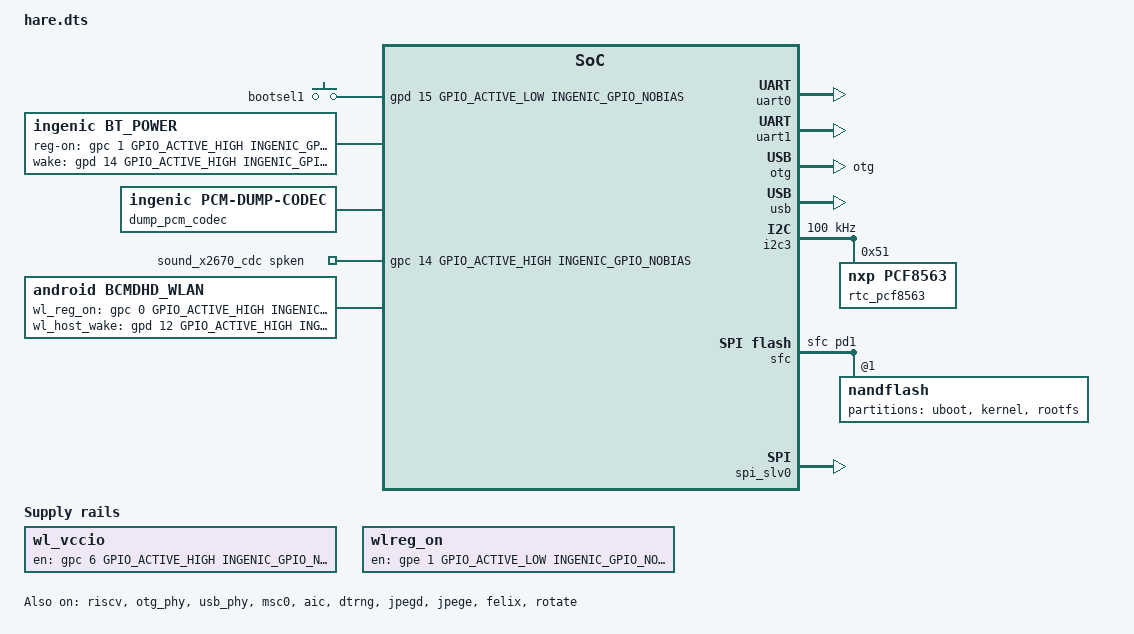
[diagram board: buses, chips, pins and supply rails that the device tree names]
/dts-v1/;

#include <dt-bindings/input/input.h>
#include "x2600.dtsi"
#include <dt-bindings/interrupt-controller/irq.h>
#include <generated/autoconf.h>

/ {
	compatible = "ingenic,x2670-hare";
	chosen {
		/*bootargs = "console=ttyS0,115200 mem=64M@0x0 ip=off init=/linuxrc ubi.mtd=2 root=ubi0:rootfs ubi.mtd=3 rootfstype=ubifs rw flashtype=nand";*/
		/*bootargs = "console=ttyS0,115200 mem=128M@0x0 ip=off init=/linuxrc rootfstype=jffs2 root=/dev/mtdblock2 rw flashtype=nor";*/
	};
	reserved-memory {
		#address-cells = <1>;
		#size-cells = <1>;
		ranges =<>;

		/*dynamic fixup according to ddr size.*/
		reserved_memory: reserved_mem {
		      compatible = "shared-dma-pool";
		      reg-64M  = <0x03000000 0xf00000>;
		      reg-128M = <0x06000000 0x1f00000>;
		      reg-256M = <0x0e000000 0x1f00000>;
		};

		riscv_mcu_ram: riscv_mcu_ram {
			 compatible = "shared-dma-pool";
			 reg-64M = <0x03F00000 0x50000>;
			 reg-128M = <0x07F00000 0x50000>;
			 reg-256M = <0x0FF00000 0x50000>;

		 };

		vdev0buffer: vdev0buffer {
			 compatible = "shared-dma-pool";
			 reg-64M = <0x03F50000 0x8000>;
			 reg-128M = <0x07F50000 0x8000>;
			 reg-256M = <0x0FF50000 0x8000>;
		};

		vdev0vring0: vdev0vring0@12400000{
		    compatible = "shared-dma-pool";
			reg = <0x12400000 0x1000>;
			no-map;
		};

		vdev0vring1: vdev0vring1@12401000{
		    compatible = "shared-dma-pool";
			reg = <0x12401000 0x1000>;
			no-map;
		};
	};
};

&riscv {
	status = "okay";
	memory-region=<&vdev0buffer &vdev0vring0 &vdev0vring1>;
	mcu-ram = <&riscv_mcu_ram>;
};

&uart0 {
	status = "okay";
	pinctrl-names = "default";
	pinctrl-0 = <&uart0_pe>;
};

&uart1 {
	status = "okay";
	pinctrl-names = "default";
	pinctrl-0 = <&uart1_pc>;
};

&otg {
	g-use-dma;
	dr_mode = "otg"; // host,peripheral,otg
	status = "okay";
};

&usb {
	g-use-dma;
	status = "okay";
};

&otg_phy {
	status = "okay";
};

&usb_phy {
	status = "okay";
};

&i2c3 {
    clock-frequency = <100000>;
    pinctrl-0 = <&i2c3_pe>;
    timeout = <1000>;
    pinctrl-names = "default";
    status = "okay";

    rtc_pcf8563:rtc_pcf8563@51{
                compatible = "nxp,pcf8563";
                reg = <0x51>;
                status = "okay";
    };
};

&msc0 {
	status = "okay";
	/*mmc-hs200-1_8v;*/
	pinctrl-names ="default";
	pinctrl-0 = <&msc0_4bit>;

	cap-mmc-highspeed;
	max-frequency = <50000000>;
	bus-width = <4>;
	voltage-ranges = <1800 3300>;
	non-removable;

	ingenic,sdio_clk = <1>;
	keep-power-in-suspend;
	ingenic,removal-manual;

#ifndef CONFIG_RTL8723DS
	bcmdhd_wlan: bcmdhd_wlan {
		 compatible = "android,bcmdhd_wlan";
		 gpio_wl_reg_on = <&gpc 0 GPIO_ACTIVE_HIGH INGENIC_GPIO_NOBIAS>;
		 gpio_wl_host_wake = <&gpd 12 GPIO_ACTIVE_HIGH INGENIC_GPIO_NOBIAS>;
    };
#else
	rtl8723ds: rtl8723ds {
		 compatible = "rtk,rtl8723ds_wlan";
		 ingenic,sdio-irq = <&gpc 0 IRQ_TYPE_LEVEL_HIGH INGENIC_GPIO_NOBIAS>;
		 ingenic,sdio-reset = <&gpd 12 GPIO_ACTIVE_LOW INGENIC_GPIO_NOBIAS>;
    };
#endif
};

&sfc {
	status = "okay";
	pinctrl-names = "default";
	pinctrl-0 = <&sfc_pd1>;
	ingenic,sfc-max-frequency = <200000000>;
	ingenic,sfc-init-frequency= <40000000>;
	ingenic,use_ofpart_info  = /bits/ 8 <0>;
	ingenic,spiflash_param_offset = <0>;

	nandflash@1 {
		partitions {
		compatible = "fixed-partitions";
		#address-cells = <1>;
		#size-cells = <1>;
		/* spi nand flash partition */
		partition@0 {
			label = "uboot";
			reg = <0x0000000 0x100000>;
		/*read-only;*/
		};
		partition@100000 {
			label = "kernel";
			reg = <0x100000 0x800000>;
		};
		partition@900000 {
			label = "rootfs";
			reg = <0x900000 0xf700000>;
		};
		};
	};

};

&aic {
	status = "okay";
};

&dmic {
	status = "disable";
	pinctrl-names = "default";
	pinctrl-0 = <&dmic_pc_4ch>;
};

&spi0 {
	status = "disabled";
	pinctrl-names = "default";
	pinctrl-0 = <&spi0_pb>;
	spi-max-frequency = <54000000>;
	num-cs = <2>;
	/* cs-gpios = <0>, <0>; */
	/* cs-gpios = <&gpb 17 GPIO_ACTIVE_HIGH INGENIC_GPIO_NOBIAS>, <&gpb 16 GPIO_ACTIVE_HIGH INGENIC_GPIO_NOBIAS>; */
	ingenic,chnl = <0>;
	ingenic,allow_cs_same = <1>;
	ingenic,bus_num = <0>;
	ingenic,has_dma_support = <0>;
	ingenic,spi-src-clk = <1>;/*0.ext; 1.ssi*/

	/* Add SPI interface device */
	spidev: spidev@0 {
		compatible = "rohm,dh2228fv";
		reg = <0>;
		spi-max-frequency = <10000000>;
	};
};

&spi_slv0 {
	status = "okay";
	pinctrl-names = "default";
	pinctrl-0 = <&spi_slv_pb>;
	ingenic,has_dma_support = <0>;
};

&efuse {
	status = "disabled";
};

&dtrng {
	status = "okay";
};

&tcu0 {
	status = "disable";
};

&tcu1 {
	status = "disable";
};

// pcm的复用引脚为pc00 - pc03，在使用时注意引脚复用不要冲突，尤其是i2c0_pc和i2c1_pc
&pcm {
	status = "disable";
	ingenic,pcm-master-mode = <1>;
	pinctrl-names = "default";
	pinctrl-0 = <&pcm_pc>;
};

/ {

	extclk: extclk {
		clock-frequency = <24000000>;
	};

	gpio_keys: gpio_keys {
		   compatible = "gpio-keys";

		   bootsel1 {
			   label = "bootsel1";
			   linux,code = <KEY_BACK>;
			   gpios = <&gpd 15 GPIO_ACTIVE_LOW INGENIC_GPIO_NOBIAS>;
			   gpio-key,wakeup;
		   };
	};

	wl_vccio: wl-regulator {
		  compatible = "regulator-fixed";
		  regulator-name = "wl_vccio";
		  gpio = <&gpc 6 GPIO_ACTIVE_HIGH INGENIC_GPIO_NOBIAS>;
		  enable-active-high;
	};

	wlreg_on: wlreg-on {
		  compatible = "regulator-fixed";
		  regulator-name = "wlreg_on";
		  gpio = <&gpe 1 GPIO_ACTIVE_LOW INGENIC_GPIO_NOBIAS>;
		  enable-active-low;
	};


	/*
	 * gpd 14 bt wakeup host
	 * gpd 13 host wakeup bt
	 */
	bt_power {
		compatible = "ingenic,bt_power";
		ingenic,reg-on-gpio = <&gpc 1 GPIO_ACTIVE_HIGH INGENIC_GPIO_NOBIAS>;
		ingenic,wake-gpio = <&gpd 14 GPIO_ACTIVE_HIGH INGENIC_GPIO_NOBIAS>;
		status = "okay";
	};

	watchdog {
		compatible = "sgm820-wdt";
		ingenic,sgm820-wdi = <&gpc 7 GPIO_ACTIVE_LOW INGENIC_GPIO_NOBIAS>;
		status = "okay";
	};

	dump_pcm_codec:dump_pcm_codec{
		compatible = "ingenic,pcm-dump-codec";
		status = "okay";
	};

	sound_x2670_cdc {
		status = "okay";
		compatible = "ingenic,x2660-halley-sound";
		ingenic,model = "x2660";
		ingenic,dai-link = "pcm", "i2s-icodec", "i2s-tloop", "dmic";
		ingenic,stream = "pcm", "i2s-icodec", "i2s-tloop", "dmic";
		ingenic,cpu-dai = <&pcm>, <&i2s>, <&i2s_tloop>, <&dmic>;
		ingenic,platform = <&pcm>, <&aic>, <&i2s_tloop>, <&dmic>;
		ingenic,codec =  <&dump_pcm_codec>, <&icodec>, <&dump_pcm_codec>, <&dmic>;
		ingenic,codec-dai = "pcm-dump", "icodec", "pcm-dump", "dmic-dump-codec";
		ingenic,audio-routing = "Speaker", "HPOUTL", "DACL", "MICBIAS" ,
			"ADCL",  "MICL",
			"ADCR",  "MICR";
		ingenic,spken-gpio = <&gpc 14 GPIO_ACTIVE_HIGH INGENIC_GPIO_NOBIAS>;
	};

	spi_gpio {
		status = "disabled";
		compatible = "spi-gpio";
		#address-cells = <1>;
		#size-cells = <0>;
		/*ranges;*/
		gpio-sck = <&gpd 0 GPIO_ACTIVE_LOW INGENIC_GPIO_NOBIAS>;
		gpio-miso = <&gpd 2 GPIO_ACTIVE_LOW INGENIC_GPIO_NOBIAS>;
		gpio-mosi = <&gpd 1 GPIO_ACTIVE_LOW INGENIC_GPIO_NOBIAS>;
		cs-gpios = <&gpd 5 GPIO_ACTIVE_LOW INGENIC_GPIO_NOBIAS>;
		num-chipselects = <1>;
		/* clients */
		spidev1: spidev1@0 {
			compatible = "rohm,dh2228fv";
			reg = <0>;
			spi-max-frequency = <500000>;
		};
	};
};


&icodec {
	dac2adc_enable = <0>;
};

&jpegd {
	status = "okay";
	memory-region=<&reserved_memory>;
};

&jpege {
	status = "okay";
	memory-region=<&reserved_memory>;
};

&felix {
	status = "okay";
	memory-region=<&reserved_memory>;
};

&rotate {
	status = "okay";
};

&pdma {
	status = "okay";
};

&pdma1 {
	status = "okay";
};

&sadc {
	status = "disable";
	pinctrl-names = "default";
	pinctrl-0 = <&aux_all_pe>;
	seq1 = <0 1 2 3 4 5 6 7 8 9 10 11 12 13 14 15>;
	/* seq1的连续转换间隔时间 单位 ms*/
	seq1-cont-interval = <10>;
	ingenic,has_dma_support = <0>;
};

#ifdef CONFIG_STAGE_FW050
#include "x2660_halley_lcd/X2660_HALLEY_MIPI_LCD_FW050.dtsi"
#endif


#ifdef CONFIG_STAGE_HC050IG40031
#include "x2660_halley_lcd/X2660_HALLEY_RGB_LCD_HC050IG.dtsi"
#endif

#ifdef CONFIG_STAGE_ZC50289HSHD02
#include "x2660_halley_lcd/X2660_HALLEY_MIPI_LCD_ZC50289HSHD02.dtsi"
#endif


